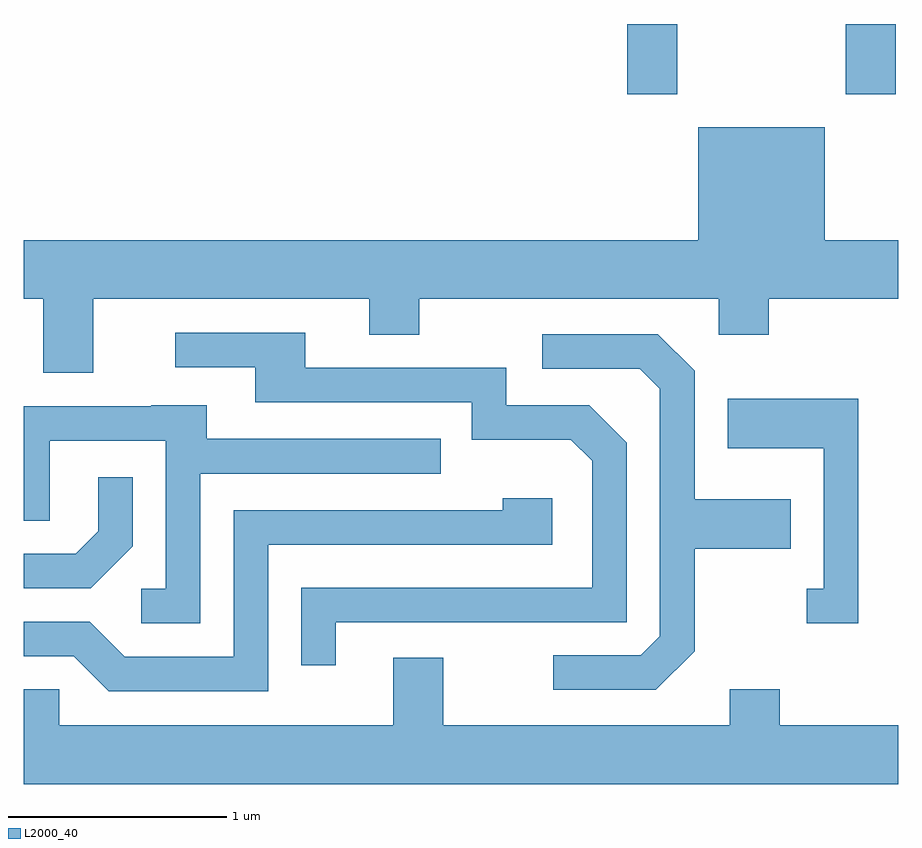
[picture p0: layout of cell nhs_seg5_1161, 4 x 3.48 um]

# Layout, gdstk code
import gdstk
lib = gdstk.Library(unit=1e-6, precision=1e-09)
def R(c, l, rs):  # rectangles x0, y0, x1, y1
    for r in rs: c.add(gdstk.rectangle(r[:2], r[2:], *l))
def P(c, l, *ps):  # polygons
    for p in ps: c.add(gdstk.Polygon(p, *l))
L2000_40 = (2000, 40)

nhs_seg5_1161 = lib.new_cell('nhs_seg5_1161')
R(nhs_seg5_1161, L2000_40, [(222.371,1437.751,222.599,1438.072), (223.371,1437.751,223.599,1438.072)])
P(nhs_seg5_1161, L2000_40, [(219.929,1436.816),(221.191,1436.816),(221.191,1436.651),(221.419,1436.651),(221.419,1436.816),(222.791,1436.816),(222.791,1436.651),(223.019,1436.651),(223.019,1436.816),(223.611,1436.816),(223.611,1437.084),(223.274,1437.084),(223.274,1437.599),(222.696,1437.599),(222.696,1437.084),(219.611,1437.084),(219.611,1436.816),(219.701,1436.816),(219.701,1436.476),(219.929,1436.476)],
  [(221.039,1435.336),(222.369,1435.336),(222.369,1436.157),(222.197,1436.329),(221.819,1436.329),(221.819,1436.499),(220.899,1436.499),(220.899,1436.659),(220.303,1436.659),(220.303,1436.501),(220.671,1436.501),(220.671,1436.341),(221.661,1436.341),(221.661,1436.171),(222.114,1436.171),(222.211,1436.074),(222.211,1435.494),(220.881,1435.494),(220.881,1435.138),(221.039,1435.138)],
  [(222.679,1435.204),(222.679,1435.671),(223.119,1435.671),(223.119,1435.899),(222.679,1435.899),(222.679,1436.487),(222.512,1436.654),(221.983,1436.654),(221.983,1436.496),(222.429,1436.496),(222.521,1436.404),(222.521,1435.272),(222.434,1435.184),(222.033,1435.184),(222.033,1435.026),(222.502,1435.026)],
  [(223.429,1436.359),(222.831,1436.359),(222.831,1436.131),(223.271,1436.131),(223.271,1435.489),(223.193,1435.489),(223.193,1435.331),(223.429,1435.331)],
  [(220.419,1436.016),(221.518,1436.016),(221.518,1436.174),(220.449,1436.174),(220.449,1436.329),(220.195,1436.329),(220.195,1436.324),(219.611,1436.324),(219.611,1435.801),(219.729,1435.801),(219.729,1436.166),(220.261,1436.166),(220.261,1435.489),(220.148,1435.489),(220.148,1435.331),(220.419,1435.331)],
  [(220.109,1435.684),(220.109,1435.998),(219.951,1435.998),(219.951,1435.752),(219.849,1435.649),(219.611,1435.649),(219.611,1435.491),(219.917,1435.491)],
  [(220.729,1435.691),(222.029,1435.691),(222.029,1435.904),(221.801,1435.904),(221.801,1435.849),(220.571,1435.849),(220.571,1435.179),(220.072,1435.179),(219.912,1435.339),(219.611,1435.339),(219.611,1435.181),(219.839,1435.181),(219.999,1435.021),(220.729,1435.021)],
  [(223.611,1434.864),(223.069,1434.864),(223.069,1435.029),(222.841,1435.029),(222.841,1434.864),(221.529,1434.864),(221.529,1435.174),(221.301,1435.174),(221.301,1434.864),(219.774,1434.864),(219.774,1435.029),(219.611,1435.029),(219.611,1434.596),(223.611,1434.596)])

lib.write_gds('nhs_seg5_1161.gds')
